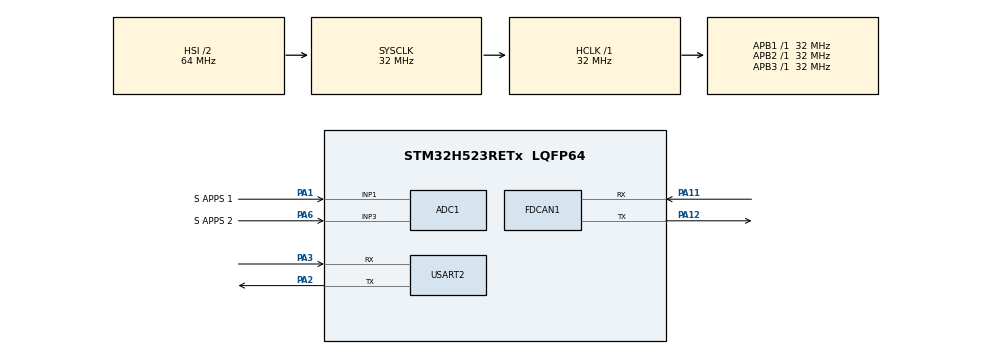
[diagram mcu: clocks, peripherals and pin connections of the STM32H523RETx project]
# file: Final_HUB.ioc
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ADC1.Channel-0\#ChannelRegularConversion=ADC_CHANNEL_1
ADC1.MonitoredBy-0\#ChannelRegularConversion=__NULL
ADC1.NbrOfConversionFlag=1
ADC1.OffsetNumber-0\#ChannelRegularConversion=ADC_OFFSET_NONE
ADC1.Rank-0\#ChannelRegularConversion=1
ADC1.SamplingTime-0\#ChannelRegularConversion=ADC_SAMPLETIME_2CYCLES_5
ADC1.master=1
BOOTPATH.BootPathName=LEGACY
BOOTPATH.UserSelectedBootPath=LEGACY
CORTEX_M33_NS.userName=CORTEX_M33
FDCAN1.CalculateBaudRateNominal=250000
FDCAN1.CalculateTimeBitNominal=4000
FDCAN1.CalculateTimeQuantumNominal=200.0
FDCAN1.NominalPrescaler=5
FDCAN1.NominalTimeSeg1=16
FDCAN1.NominalTimeSeg2=3
Mcu.Family=STM32H5
Mcu.Name=STM32H523RETx
Mcu.Package=LQFP64
NVIC.PriorityGroup=NVIC_PRIORITYGROUP_4
PA1.GPIO_Label=S APPS 1
PA1.Signal=ADCx_INP1
PA11.Mode=FDCAN_Activate
PA11.Signal=FDCAN1_RX
PA12.Mode=FDCAN_Activate
PA12.Signal=FDCAN1_TX
PA2.Mode=Asynchronous
PA2.Signal=USART2_TX
PA3.Mode=Asynchronous
PA3.Signal=USART2_RX
PA6.GPIO_Label=S APPS 2
PA6.Signal=ADCx_INP3
ProjectManager.HeapSize=0x200
ProjectManager.StackSize=0x400
ProjectManager.TargetToolchain=STM32CubeIDE
RCC.ADCFreq_Value=32000000
RCC.AHBFreq_Value=32000000
RCC.APB1Freq_Value=32000000
RCC.APB1TimFreq_Value=32000000
RCC.APB2Freq_Value=32000000
RCC.APB2TimFreq_Value=32000000
RCC.APB3Freq_Value=32000000
RCC.CSI_VALUE=4000000
RCC.CortexFreq_Value=32000000
RCC.EPOD_VALUE=4000000
RCC.HCLKFreq_Value=32000000
RCC.HSE_VALUE=25000000
RCC.HSI48_VALUE=48000000
RCC.HSI_VALUE=64000000
RCC.LSE_VALUE=32768
RCC.LSIRC_VALUE=32000
RCC.SYSCLKFreq_VALUE=32000000
RCC.USBFreq_Value=48000000
RCC.VCOOutputFreq_Value=516000000
SH.ADCx_INP1.0=ADC1_INP1,IN1-Single-Ended
SH.ADCx_INP3.0=ADC1_INP3,IN3-Single-Ended
USART2.VirtualMode-Asynchronous=VM_ASYNC
VP_BOOTPATH_VS_BOOTPATH.Mode=BP_Activate
VP_CORTEX_M33_NS_VS_Hclk.Mode=Hclk_Mode
VP_MEMORYMAP_VS_MEMORYMAP.Mode=CurAppReg
VP_PWR_VS_DBSignals.Mode=DisableDeadBatterySignals
VP_PWR_VS_LPOM.Mode=PowerOptimisation
VP_PWR_VS_SECSignals.Mode=Security/Privilege
board=custom

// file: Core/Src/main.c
/* USER CODE BEGIN Header */
/**
  ******************************************************************************
  * @file           : main.c
  * @brief          : Main program body
  ******************************************************************************
  * @attention
  *
  * Copyright (c) 2025 STMicroelectronics.
  * All rights reserved.
  *
  * This software is licensed under terms that can be found in the LICENSE file
  * in the root directory of this software component.
  * If no LICENSE file comes with this software, it is provided AS-IS.
  *
  ******************************************************************************
  */
/* USER CODE END Header */
#include "main.h"

/* USER CODE BEGIN Includes */
#include <stdio.h>
#include <string.h>
#include <stdlib.h>
/* USER CODE END Includes */

ADC_HandleTypeDef hadc1;

FDCAN_HandleTypeDef hfdcan1;

UART_HandleTypeDef huart2;

void SystemClock_Config(void);
static void MX_GPIO_Init(void);
static void MX_ADC1_Init(void);
static void MX_FDCAN1_Init(void);
static void MX_USART2_UART_Init(void);

/* USER CODE BEGIN 0 */
FDCAN_TxHeaderTypeDef TxHeader;
FDCAN_RxHeaderTypeDef RxHeader;

uint8_t TxData[8];
uint8_t RxData[8];
uint16_t buffer_adc[2];

uint32_t TxMailBox;

int s1_aceleracion = 0; // Lectura del sensor 1 del pedal de aceleración
int s2_aceleracion = 0; // Lectura del sensor 2 del pedal de aceleración

char uart_msg[100];
char TxBuffer[250];
uint8_t error = 0;

void print(char uart_buffer[]);
void printValue(int value);
void printHex(uint8_t value);
void ADC_Select_CH1(void);
void ADC_Select_CH3(void);
uint8_t flag_start = 0;
/* USER CODE END 0 */

int main(void)
{

  /* MCU Configuration--------------------------------------------------------*/

  /* Reset of all peripherals, Initializes the Flash interface and the Systick. */
  HAL_Init();

  /* Configure the system clock */
  SystemClock_Config();

  /* Initialize all configured peripherals */
  MX_GPIO_Init();
  MX_ADC1_Init();
  MX_FDCAN1_Init();
  MX_USART2_UART_Init();
  /* USER CODE BEGIN 2 */
  HAL_ADC_Start(&hadc1);
  HAL_FDCAN_Start(&hfdcan1);
  if (HAL_FDCAN_ActivateNotification(&hfdcan1, FDCAN_IT_RX_FIFO0_NEW_MESSAGE, 0) != HAL_OK)
    {
      Error_Handler();
    }
  /* USER CODE END 2 */

  /* Infinite loop */
  while (1)
  {

    /* USER CODE BEGIN 3 */
	ADC_Select_CH1();
	HAL_ADC_Start(&hadc1);
	HAL_ADC_PollForConversion(&hadc1, HAL_MAX_DELAY);
	s1_aceleracion = HAL_ADC_GetValue(&hadc1);
	HAL_ADC_Stop(&hadc1);

	ADC_Select_CH3();
	HAL_ADC_Start(&hadc1);
	HAL_ADC_PollForConversion(&hadc1, HAL_MAX_DELAY);
	s2_aceleracion = HAL_ADC_GetValue(&hadc1);
	//printValue(s1_aceleracion);
	HAL_ADC_Stop(&hadc1);

	//TxHeader.DLC = 2;
	//TxHeader.IDE = CAN_ID_STD;
	//TxHeader.RTR = CAN_RTR_DATA;
	//TxHeader.StdId = 0x111;

	TxHeader.Identifier = 0x111;
	TxHeader.IdType = FDCAN_STANDARD_ID;
	TxHeader.TxFrameType = FDCAN_DATA_FRAME;
	TxHeader.DataLength = FDCAN_DLC_BYTES_4;
	TxHeader.ErrorStateIndicator = FDCAN_ESI_ACTIVE;
	TxHeader.BitRateSwitch = FDCAN_BRS_ON;
	TxHeader.FDFormat = FDCAN_FD_CAN;
	TxHeader.TxEventFifoControl = FDCAN_STORE_TX_EVENTS;
	//TxHeader.MessageMarker = 0x52;

	TxData[0] = (s1_aceleracion >> 8) & 0xFF;
	TxData[1] = s1_aceleracion & 0xFF; // S APPS 1
	TxData[2] = (s2_aceleracion >> 8) & 0xFF;
	TxData[3] = s2_aceleracion & 0xFF; // S APPS 2
	if (HAL_FDCAN_AddMessageToTxFifoQ(&hfdcan1, &TxHeader, TxData) == HAL_OK){
		print("Valor de sensor de aceleración enviado\n\r");
		HAL_Delay(2);
	}
  }
  /* USER CODE END 3 */
}

void SystemClock_Config(void)
{
  RCC_OscInitTypeDef RCC_OscInitStruct = {0};
  RCC_ClkInitTypeDef RCC_ClkInitStruct = {0};

  /** Configure the main internal regulator output voltage
  */
  __HAL_PWR_VOLTAGESCALING_CONFIG(PWR_REGULATOR_VOLTAGE_SCALE3);

  while(!__HAL_PWR_GET_FLAG(PWR_FLAG_VOSRDY)) {}

  /** Initializes the RCC Oscillators according to the specified parameters
  * in the RCC_OscInitTypeDef structure.
  */
  RCC_OscInitStruct.OscillatorType = RCC_OSCILLATORTYPE_HSI|RCC_OSCILLATORTYPE_HSE;
  RCC_OscInitStruct.HSEState = RCC_HSE_OFF;
  RCC_OscInitStruct.HSIState = RCC_HSI_ON;
  RCC_OscInitStruct.HSIDiv = RCC_HSI_DIV2;
  RCC_OscInitStruct.HSICalibrationValue = RCC_HSICALIBRATION_DEFAULT;
  RCC_OscInitStruct.PLL.PLLState = RCC_PLL_NONE;
  if (HAL_RCC_OscConfig(&RCC_OscInitStruct) != HAL_OK)
  {
    Error_Handler();
  }

  /** Initializes the CPU, AHB and APB buses clocks
  */
  RCC_ClkInitStruct.ClockType = RCC_CLOCKTYPE_HCLK|RCC_CLOCKTYPE_SYSCLK
                              |RCC_CLOCKTYPE_PCLK1|RCC_CLOCKTYPE_PCLK2
                              |RCC_CLOCKTYPE_PCLK3;
  RCC_ClkInitStruct.SYSCLKSource = RCC_SYSCLKSOURCE_HSI;
  RCC_ClkInitStruct.AHBCLKDivider = RCC_SYSCLK_DIV1;
  RCC_ClkInitStruct.APB1CLKDivider = RCC_HCLK_DIV1;
  RCC_ClkInitStruct.APB2CLKDivider = RCC_HCLK_DIV1;
  RCC_ClkInitStruct.APB3CLKDivider = RCC_HCLK_DIV1;

  if (HAL_RCC_ClockConfig(&RCC_ClkInitStruct, FLASH_LATENCY_1) != HAL_OK)
  {
    Error_Handler();
  }

  /** Configure the programming delay
  */
  __HAL_FLASH_SET_PROGRAM_DELAY(FLASH_PROGRAMMING_DELAY_0);
}

static void MX_ADC1_Init(void)
{

  ADC_ChannelConfTypeDef sConfig = {0};

  /** Common config
  */
  hadc1.Instance = ADC1;
  hadc1.Init.ClockPrescaler = ADC_CLOCK_ASYNC_DIV1;
  hadc1.Init.Resolution = ADC_RESOLUTION_12B;
  hadc1.Init.DataAlign = ADC_DATAALIGN_RIGHT;
  hadc1.Init.ScanConvMode = ADC_SCAN_DISABLE;
  hadc1.Init.EOCSelection = ADC_EOC_SINGLE_CONV;
  hadc1.Init.LowPowerAutoWait = DISABLE;
  hadc1.Init.ContinuousConvMode = DISABLE;
  hadc1.Init.NbrOfConversion = 1;
  hadc1.Init.DiscontinuousConvMode = DISABLE;
  hadc1.Init.ExternalTrigConv = ADC_SOFTWARE_START;
  hadc1.Init.ExternalTrigConvEdge = ADC_EXTERNALTRIGCONVEDGE_NONE;
  hadc1.Init.DMAContinuousRequests = DISABLE;
  hadc1.Init.SamplingMode = ADC_SAMPLING_MODE_NORMAL;
  hadc1.Init.Overrun = ADC_OVR_DATA_PRESERVED;
  hadc1.Init.OversamplingMode = DISABLE;
  if (HAL_ADC_Init(&hadc1) != HAL_OK)
  {
    Error_Handler();
  }

  /** Configure Regular Channel
  */
  sConfig.Channel = ADC_CHANNEL_1;
  sConfig.Rank = ADC_REGULAR_RANK_1;
  sConfig.SamplingTime = ADC_SAMPLETIME_2CYCLES_5;
  sConfig.SingleDiff = ADC_SINGLE_ENDED;
  sConfig.OffsetNumber = ADC_OFFSET_NONE;
  sConfig.Offset = 0;
  if (HAL_ADC_ConfigChannel(&hadc1, &sConfig) != HAL_OK)
  {
    Error_Handler();
  }

}

static void MX_FDCAN1_Init(void)
{

  hfdcan1.Instance = FDCAN1;
  hfdcan1.Init.ClockDivider = FDCAN_CLOCK_DIV1;
  hfdcan1.Init.FrameFormat = FDCAN_FRAME_CLASSIC;
  hfdcan1.Init.Mode = FDCAN_MODE_NORMAL;
  hfdcan1.Init.AutoRetransmission = DISABLE;
  hfdcan1.Init.TransmitPause = DISABLE;
  hfdcan1.Init.ProtocolException = DISABLE;
  hfdcan1.Init.NominalPrescaler = 5;
  hfdcan1.Init.NominalSyncJumpWidth = 1;
  hfdcan1.Init.NominalTimeSeg1 = 16;
  hfdcan1.Init.NominalTimeSeg2 = 3;
  hfdcan1.Init.DataPrescaler = 1;
  hfdcan1.Init.DataSyncJumpWidth = 1;
  hfdcan1.Init.DataTimeSeg1 = 1;
  hfdcan1.Init.DataTimeSeg2 = 1;
  hfdcan1.Init.StdFiltersNbr = 0;
  hfdcan1.Init.ExtFiltersNbr = 0;
  hfdcan1.Init.TxFifoQueueMode = FDCAN_TX_FIFO_OPERATION;
  if (HAL_FDCAN_Init(&hfdcan1) != HAL_OK)
  {
    Error_Handler();
  }

}

static void MX_USART2_UART_Init(void)
{

  huart2.Instance = USART2;
  huart2.Init.BaudRate = 115200;
  huart2.Init.WordLength = UART_WORDLENGTH_8B;
  huart2.Init.StopBits = UART_STOPBITS_1;
  huart2.Init.Parity = UART_PARITY_NONE;
  huart2.Init.Mode = UART_MODE_TX_RX;
  huart2.Init.HwFlowCtl = UART_HWCONTROL_NONE;
  huart2.Init.OverSampling = UART_OVERSAMPLING_16;
  huart2.Init.OneBitSampling = UART_ONE_BIT_SAMPLE_DISABLE;
  huart2.Init.ClockPrescaler = UART_PRESCALER_DIV1;
  huart2.AdvancedInit.AdvFeatureInit = UART_ADVFEATURE_NO_INIT;
  if (HAL_UART_Init(&huart2) != HAL_OK)
  {
    Error_Handler();
  }
  if (HAL_UARTEx_SetTxFifoThreshold(&huart2, UART_TXFIFO_THRESHOLD_1_8) != HAL_OK)
  {
    Error_Handler();
  }
  if (HAL_UARTEx_SetRxFifoThreshold(&huart2, UART_RXFIFO_THRESHOLD_1_8) != HAL_OK)
  {
    Error_Handler();
  }
  if (HAL_UARTEx_DisableFifoMode(&huart2) != HAL_OK)
  {
    Error_Handler();
  }

}

static void MX_GPIO_Init(void)
{

  /* GPIO Ports Clock Enable */
  __HAL_RCC_GPIOA_CLK_ENABLE();

}

/* USER CODE BEGIN 4 */
void print(char uart_buffer[]) {
	sprintf(uart_msg, "%s \n\r", uart_buffer);
	HAL_UART_Transmit(&huart2, (uint8_t*) uart_msg, strlen(uart_msg),
	HAL_MAX_DELAY);

}

void printValue(int value) {
	sprintf(uart_msg, "%hu \n\r", value);
	HAL_UART_Transmit(&huart2, (uint8_t*) uart_msg, strlen(uart_msg),
	HAL_MAX_DELAY);

}

void printHex(uint8_t value) {
	sprintf(uart_msg, "0x%02X \n\r", value);
	HAL_UART_Transmit(&huart2, (uint8_t*) uart_msg, strlen(uart_msg),
	HAL_MAX_DELAY);
}
/*
void HAL_ADC_ConvCpltCallback(ADC_HandleTypeDef *hadc) {
	print("updating");
	s1_aceleracion = buffer_adc[0];
	s2_aceleracion = buffer_adc[1];
}
*/
void ADC_Select_CH1 (void)
{
	ADC_ChannelConfTypeDef sConfig = {0};
	  /** Configure for the selected ADC regular channel its corresponding rank in the sequencer and its sample time.
	  */
	  sConfig.Channel = ADC_CHANNEL_1;
	  sConfig.Rank = ADC_REGULAR_RANK_1;
	  sConfig.SamplingTime = ADC_SAMPLETIME_2CYCLES_5;
	  sConfig.SingleDiff = ADC_SINGLE_ENDED;
	  sConfig.OffsetNumber = ADC_OFFSET_NONE;
	  sConfig.Offset = 0;
	  if (HAL_ADC_ConfigChannel(&hadc1, &sConfig) != HAL_OK)
	  {
	    Error_Handler();
	  }
}

void ADC_Select_CH3 (void)
{
	ADC_ChannelConfTypeDef sConfig = {0};
	  /** Configure for the selected ADC regular channel its corresponding rank in the sequencer and its sample time.
	  */
	  sConfig.Channel = ADC_CHANNEL_3;
	  sConfig.Rank = ADC_REGULAR_RANK_1;
	  sConfig.SamplingTime = ADC_SAMPLETIME_2CYCLES_5;
	  sConfig.SingleDiff = ADC_SINGLE_ENDED;
	  sConfig.OffsetNumber = ADC_OFFSET_NONE;
	  sConfig.Offset = 0;
	  if (HAL_ADC_ConfigChannel(&hadc1, &sConfig) != HAL_OK)
	  {
	    Error_Handler();
	  }
}

void HAL_FDCAN_RxFifo0MsgPendingCallback(FDCAN_HandleTypeDef *hcan)
{
  if (HAL_FDCAN_GetRxMessage(hcan, FDCAN_RX_FIFO0, &RxHeader, RxData) != HAL_OK)
  {
    Error_Handler();
  }
  if ((RxHeader.Identifier == 0x101)) // señal recibida de la ECU para comenzar comunicaciones
  {
	  if (RxData[0] == 1){
		  flag_start = 1;
	  }
  }
}
/* USER CODE END 4 */

void Error_Handler(void)
{
  __disable_irq();
  while (1)
  {
  }
}
